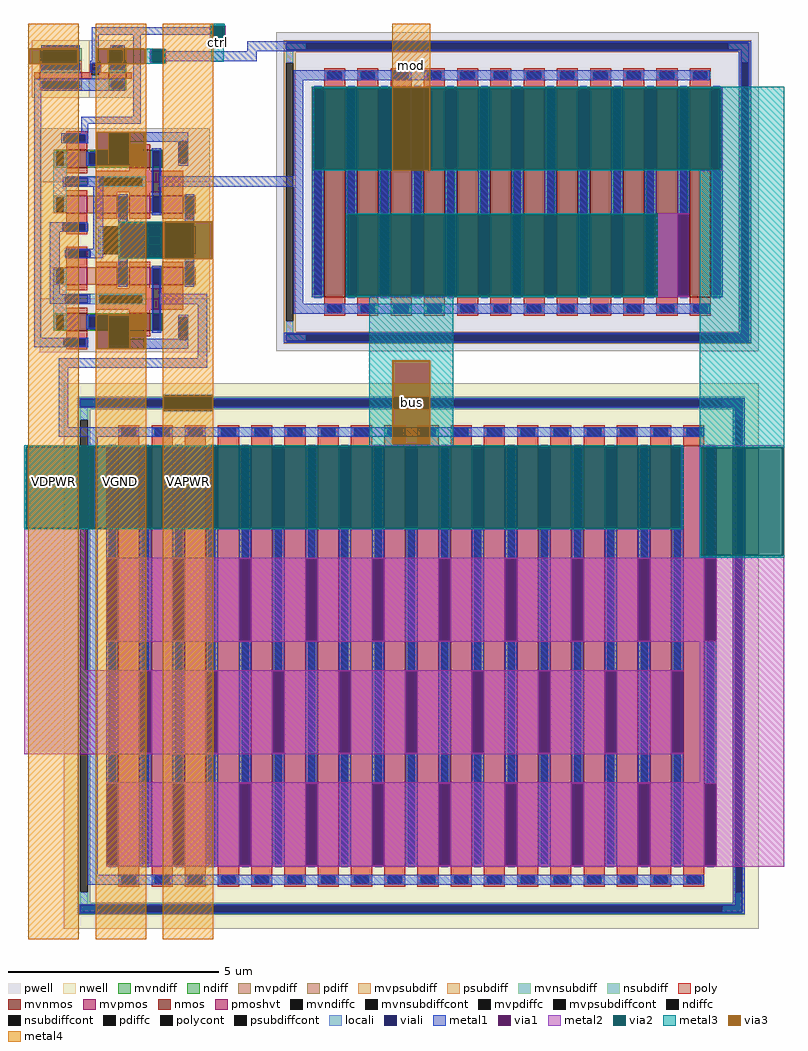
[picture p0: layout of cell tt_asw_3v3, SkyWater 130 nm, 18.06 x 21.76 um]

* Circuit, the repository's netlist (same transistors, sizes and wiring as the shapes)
** sch_path: /home/ttuser/Desktop/tt09-sar-adc-dac-combo/xschem/tt_asw_3v3.sch
.subckt tt_asw_3v3 VGND VDPWR VAPWR ctrl mod bus
*.PININFO mod:B bus:B ctrl:I VGND:B VDPWR:B VAPWR:B
XM1 tgon_n net2 VAPWR sky130_fd_pr__pfet_g5v0d10v5 L=0.5 W=0.84 nf=1 m=1
XM2 tgon_n net2 VGND sky130_fd_pr__nfet_g5v0d10v5 L=0.5 W=0.42 nf=1 m=1
XM3 tgon net1 VAPWR sky130_fd_pr__pfet_g5v0d10v5 L=0.5 W=0.84 nf=1 m=1
XM4 tgon net1 VGND sky130_fd_pr__nfet_g5v0d10v5 L=0.5 W=0.42 nf=1 m=1
XM5 bus tgon_n mod sky130_fd_pr__pfet_g5v0d10v5 L=0.5 W=180 nf=18 m=1
XM6 bus tgon mod sky130_fd_pr__nfet_g5v0d10v5 L=0.5 W=60 nf=12 m=1
XM7 ctrl_n ctrl VGND sky130_fd_pr__nfet_01v8 L=0.15 W=0.42 nf=1 m=1
XM8 ctrl_n ctrl VDPWR sky130_fd_pr__pfet_01v8_hvt L=0.15 W=1 nf=1 m=1
XM9 net1 ctrl VGND sky130_fd_pr__nfet_g5v0d10v5 L=0.5 W=0.42 nf=1 m=1
XM10 net2 ctrl_n VGND sky130_fd_pr__nfet_g5v0d10v5 L=0.5 W=0.42 nf=1 m=1
XM11 net1 net2 net3 sky130_fd_pr__pfet_g5v0d10v5 L=0.5 W=0.42 nf=1 m=1
XM12 net2 net1 net4 sky130_fd_pr__pfet_g5v0d10v5 L=0.5 W=0.42 nf=1 m=1
XM13 net3 net1 VAPWR sky130_fd_pr__pfet_g5v0d10v5 L=0.5 W=0.42 nf=1 m=1
XM14 net4 net2 VAPWR sky130_fd_pr__pfet_g5v0d10v5 L=0.5 W=0.42 nf=1 m=1
.ends
.end

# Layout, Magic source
magic
tech sky130A
magscale 1 2
<< viali >>
rect 1246 4228 3444 4262
rect 3410 2876 3444 4228
rect 1246 2842 3444 2876
rect 268 2532 3414 2566
rect 3380 162 3414 2532
rect 268 128 3414 162
<< metal1 >>
rect 888 4334 894 4340
rect 322 4300 894 4334
rect 82 4224 266 4230
rect 322 4208 356 4300
rect 402 4224 470 4230
rect 82 4164 266 4170
rect 402 4164 470 4170
rect 48 2860 82 4090
rect 520 3910 554 4300
rect 888 4288 894 4300
rect 946 4288 952 4340
rect 1060 4262 3456 4268
rect 1060 4228 1246 4262
rect 598 4170 604 4224
rect 672 4220 678 4224
rect 1060 4222 3410 4228
rect 1060 4220 1106 4222
rect 672 4174 1106 4220
rect 672 4170 678 4174
rect 272 3876 554 3910
rect 1282 4084 3260 4130
rect 272 3830 306 3876
rect 1282 3626 1328 4084
rect 652 3576 1328 3626
rect 652 3018 872 3068
rect 48 2814 176 2860
rect 826 2762 872 3018
rect 1282 3020 1328 3576
rect 1370 4046 1424 4052
rect 1370 3052 1424 3658
rect 1528 3446 1582 4052
rect 1528 3052 1582 3058
rect 1686 4046 1740 4052
rect 1686 3052 1740 3658
rect 1844 3446 1898 4052
rect 1844 3052 1898 3058
rect 2002 4046 2056 4052
rect 2002 3052 2056 3658
rect 2160 3446 2214 4052
rect 2160 3052 2214 3058
rect 2318 4046 2372 4052
rect 2318 3052 2372 3658
rect 2476 3446 2530 4052
rect 2476 3052 2530 3058
rect 2634 4046 2688 4052
rect 2634 3052 2688 3658
rect 2792 3446 2846 4052
rect 2792 3052 2846 3058
rect 2950 4046 3004 4052
rect 2950 3052 3004 3658
rect 3108 3446 3162 4052
rect 3108 3052 3162 3058
rect 3266 4046 3320 4052
rect 3266 3052 3320 3658
rect 1282 2974 3260 3020
rect 3398 2882 3410 4222
rect 1234 2876 3410 2882
rect 1234 2842 1246 2876
rect 3444 2842 3456 4262
rect 1234 2836 3456 2842
rect 164 2716 872 2762
rect 164 2434 210 2716
rect 662 2576 898 2582
rect 256 2566 662 2572
rect 898 2566 3426 2572
rect 256 2532 268 2566
rect 256 2526 662 2532
rect 898 2526 3380 2532
rect 662 2516 898 2522
rect 164 2388 3230 2434
rect 304 306 350 2388
rect 392 1808 446 2348
rect 392 740 446 1420
rect 392 346 446 352
rect 550 2342 604 2348
rect 550 1274 604 1954
rect 550 346 604 886
rect 708 1808 762 2348
rect 708 740 762 1420
rect 708 346 762 352
rect 866 2342 920 2348
rect 866 1274 920 1954
rect 866 346 920 886
rect 1024 1808 1078 2348
rect 1024 740 1078 1420
rect 1024 346 1078 352
rect 1182 2342 1236 2348
rect 1182 1274 1236 1954
rect 1182 346 1236 886
rect 1340 1808 1394 2348
rect 1340 740 1394 1420
rect 1340 346 1394 352
rect 1498 2342 1552 2348
rect 1498 1274 1552 1954
rect 1498 346 1552 886
rect 1656 1808 1710 2348
rect 1656 740 1710 1420
rect 1656 346 1710 352
rect 1814 2342 1868 2348
rect 1814 1274 1868 1954
rect 1814 346 1868 886
rect 1972 1808 2026 2348
rect 1972 740 2026 1420
rect 1972 346 2026 352
rect 2130 2342 2184 2348
rect 2130 1274 2184 1954
rect 2130 346 2184 886
rect 2288 1808 2342 2348
rect 2288 740 2342 1420
rect 2288 346 2342 352
rect 2446 2342 2500 2348
rect 2446 1274 2500 1954
rect 2446 346 2500 886
rect 2604 1808 2658 2348
rect 2604 740 2658 1420
rect 2604 346 2658 352
rect 2762 2342 2816 2348
rect 2762 1274 2816 1954
rect 2762 346 2816 886
rect 2920 1808 2974 2348
rect 2920 740 2974 1420
rect 2920 346 2974 352
rect 3078 2342 3132 2348
rect 3078 1274 3132 1954
rect 3078 346 3132 886
rect 3236 1808 3290 2348
rect 3236 740 3290 1420
rect 3236 346 3290 352
rect 304 260 3230 306
rect 3368 168 3380 2526
rect 256 162 3380 168
rect 256 128 268 162
rect 3414 128 3426 2566
rect 256 122 3426 128
<< via1 >>
rect 82 4170 266 4224
rect 402 4170 470 4224
rect 894 4288 946 4340
rect 604 4170 672 4224
rect 406 3676 498 3836
rect 448 3240 810 3404
rect 406 2808 498 2968
rect 1370 3658 1424 4046
rect 1528 3058 1582 3446
rect 1686 3658 1740 4046
rect 1844 3058 1898 3446
rect 2002 3658 2056 4046
rect 2160 3058 2214 3446
rect 2318 3658 2372 4046
rect 2476 3058 2530 3446
rect 2634 3658 2688 4046
rect 2792 3058 2846 3446
rect 2950 3658 3004 4046
rect 3108 3058 3162 3446
rect 3266 3658 3320 4046
rect 662 2566 898 2576
rect 662 2532 898 2566
rect 662 2522 898 2532
rect 392 1420 446 1808
rect 392 352 446 740
rect 550 1954 604 2342
rect 550 886 604 1274
rect 708 1420 762 1808
rect 708 352 762 740
rect 866 1954 920 2342
rect 866 886 920 1274
rect 1024 1420 1078 1808
rect 1024 352 1078 740
rect 1182 1954 1236 2342
rect 1182 886 1236 1274
rect 1340 1420 1394 1808
rect 1340 352 1394 740
rect 1498 1954 1552 2342
rect 1498 886 1552 1274
rect 1656 1420 1710 1808
rect 1656 352 1710 740
rect 1814 1954 1868 2342
rect 1814 886 1868 1274
rect 1972 1420 2026 1808
rect 1972 352 2026 740
rect 2130 1954 2184 2342
rect 2130 886 2184 1274
rect 2288 1420 2342 1808
rect 2288 352 2342 740
rect 2446 1954 2500 2342
rect 2446 886 2500 1274
rect 2604 1420 2658 1808
rect 2604 352 2658 740
rect 2762 1954 2816 2342
rect 2762 886 2816 1274
rect 2920 1420 2974 1808
rect 2920 352 2974 740
rect 3078 1954 3132 2342
rect 3078 886 3132 1274
rect 3236 1420 3290 1808
rect 3236 352 3290 740
<< metal2 >>
rect 882 4286 892 4342
rect 948 4286 958 4342
rect 82 4226 266 4230
rect 82 4224 92 4226
rect 256 4224 266 4226
rect 82 4168 92 4170
rect 256 4168 266 4170
rect 82 4164 266 4168
rect 398 4226 474 4230
rect 398 4224 408 4226
rect 464 4224 474 4226
rect 398 4170 402 4224
rect 470 4170 474 4224
rect 398 4168 408 4170
rect 464 4168 474 4170
rect 398 4164 474 4168
rect 600 4226 676 4230
rect 600 4224 610 4226
rect 666 4224 676 4226
rect 600 4170 604 4224
rect 672 4170 676 4224
rect 600 4168 610 4170
rect 666 4168 676 4170
rect 600 4164 676 4168
rect 1370 4046 3320 4052
rect 400 3676 406 3836
rect 498 3676 504 3836
rect 1370 3652 3320 3658
rect 1528 3446 3162 3452
rect 448 3404 810 3410
rect 448 3234 810 3240
rect 3002 3058 3108 3446
rect 1528 3052 3162 3058
rect 400 2808 406 2968
rect 498 2808 504 2968
rect 662 2580 898 2582
rect 662 2576 672 2580
rect 888 2576 898 2580
rect 662 2518 672 2522
rect 888 2518 898 2522
rect 662 2516 898 2518
rect 0 2342 3132 2348
rect 0 1954 10 2342
rect 0 1948 3132 1954
rect 3212 2338 3612 2348
rect 0 1280 292 1948
rect 3212 1824 3218 2338
rect 3606 1824 3612 2338
rect 3212 1814 3612 1824
rect 392 1808 3612 1814
rect 446 1420 708 1808
rect 762 1420 1024 1808
rect 1078 1420 1340 1808
rect 1394 1420 1656 1808
rect 1710 1420 1972 1808
rect 2026 1420 2288 1808
rect 2342 1420 2604 1808
rect 2658 1420 2920 1808
rect 2974 1420 3236 1808
rect 3290 1420 3612 1808
rect 392 1414 3612 1420
rect 0 1274 3132 1280
rect 0 886 550 1274
rect 604 886 866 1274
rect 920 886 1182 1274
rect 1236 886 1498 1274
rect 1552 886 1814 1274
rect 1868 886 2130 1274
rect 2184 886 2446 1274
rect 2500 886 2762 1274
rect 2816 886 3078 1274
rect 0 880 3132 886
rect 3212 746 3612 1414
rect 392 740 3612 746
rect 446 352 708 740
rect 762 352 1024 740
rect 1078 352 1340 740
rect 1394 352 1656 740
rect 1710 352 1972 740
rect 2026 352 2288 740
rect 2342 352 2604 740
rect 2658 352 2920 740
rect 2974 352 3236 740
rect 3290 352 3612 740
rect 392 346 3612 352
<< via2 >>
rect 892 4340 948 4342
rect 892 4288 894 4340
rect 894 4288 946 4340
rect 946 4288 948 4340
rect 892 4286 948 4288
rect 92 4224 256 4226
rect 92 4170 256 4224
rect 92 4168 256 4170
rect 408 4224 464 4226
rect 408 4170 464 4224
rect 408 4168 464 4170
rect 610 4224 666 4226
rect 610 4170 666 4224
rect 610 4168 666 4170
rect 406 3686 498 3826
rect 1380 3658 1424 4046
rect 1424 3658 1686 4046
rect 1686 3658 1740 4046
rect 1740 3658 2002 4046
rect 2002 3658 2056 4046
rect 2056 3658 2318 4046
rect 2318 3658 2372 4046
rect 2372 3658 2634 4046
rect 2634 3658 2688 4046
rect 2688 3658 2950 4046
rect 2950 3658 3004 4046
rect 3004 3658 3266 4046
rect 3266 3658 3310 4046
rect 458 3240 800 3404
rect 1538 3058 1582 3446
rect 1582 3058 1844 3446
rect 1844 3058 1898 3446
rect 1898 3058 2160 3446
rect 2160 3058 2214 3446
rect 2214 3058 2476 3446
rect 2476 3058 2530 3446
rect 2530 3058 2792 3446
rect 2792 3058 2846 3446
rect 2846 3058 3002 3446
rect 406 2818 498 2958
rect 672 2576 888 2580
rect 672 2522 888 2576
rect 672 2518 888 2522
rect 10 1954 550 2342
rect 550 1954 604 2342
rect 604 1954 866 2342
rect 866 1954 920 2342
rect 920 1954 1182 2342
rect 1182 1954 1236 2342
rect 1236 1954 1498 2342
rect 1498 1954 1552 2342
rect 1552 1954 1814 2342
rect 1814 1954 1868 2342
rect 1868 1954 2130 2342
rect 2130 1954 2184 2342
rect 2184 1954 2446 2342
rect 2446 1954 2500 2342
rect 2500 1954 2762 2342
rect 2762 1954 2816 2342
rect 2816 1954 3078 2342
rect 3078 1954 3122 2342
rect 3218 1824 3606 2338
<< metal3 >>
rect 886 4342 954 4352
rect 886 4286 892 4342
rect 948 4286 954 4342
rect 886 4276 954 4286
rect 20 4162 26 4232
rect 254 4226 262 4232
rect 256 4168 262 4226
rect 254 4162 262 4168
rect 340 4162 346 4232
rect 574 4226 672 4232
rect 574 4168 610 4226
rect 666 4168 672 4226
rect 890 4172 950 4276
rect 574 4162 672 4168
rect 1370 4050 3612 4052
rect 1370 4046 1752 4050
rect 1928 4046 3612 4050
rect 340 3676 346 3836
rect 574 3676 580 3836
rect 1370 3658 1380 4046
rect 3310 3658 3612 4046
rect 1370 3654 1752 3658
rect 1928 3654 3612 3658
rect 1370 3652 3612 3654
rect 1528 3446 3012 3452
rect 448 3404 666 3410
rect 448 3240 458 3404
rect 448 3234 666 3240
rect 894 3234 900 3410
rect 1528 3058 1538 3446
rect 3002 3058 3012 3446
rect 1528 3052 3012 3058
rect 340 2808 346 2968
rect 574 2808 580 2968
rect 1640 2750 2040 3052
rect 662 2582 898 2588
rect 662 2510 898 2516
rect 1640 2354 1752 2750
rect 1928 2354 2040 2750
rect 1640 2348 2040 2354
rect 0 2342 3132 2348
rect 0 1954 10 2342
rect 3122 1954 3132 2342
rect 0 1948 3132 1954
rect 3212 2338 3612 3652
rect 3212 1824 3218 2338
rect 3606 1824 3612 2338
rect 3212 1814 3612 1824
<< via3 >>
rect 26 4226 254 4232
rect 26 4168 92 4226
rect 92 4168 254 4226
rect 26 4162 254 4168
rect 346 4226 574 4232
rect 346 4168 408 4226
rect 408 4168 464 4226
rect 464 4168 574 4226
rect 346 4162 574 4168
rect 1752 4046 1928 4050
rect 346 3826 574 3836
rect 346 3686 406 3826
rect 406 3686 498 3826
rect 498 3686 574 3826
rect 346 3676 574 3686
rect 1752 3658 1928 4046
rect 1752 3654 1928 3658
rect 666 3404 894 3410
rect 666 3240 800 3404
rect 800 3240 894 3404
rect 666 3234 894 3240
rect 346 2958 574 2968
rect 346 2818 406 2958
rect 406 2818 498 2958
rect 498 2818 574 2958
rect 346 2808 574 2818
rect 662 2580 898 2582
rect 662 2518 672 2580
rect 672 2518 888 2580
rect 888 2518 898 2580
rect 662 2516 898 2518
rect 1752 2354 1928 2750
<< metal4 >>
rect 20 4232 260 4352
rect 20 4162 26 4232
rect 254 4162 260 4232
rect 20 0 260 4162
rect 340 4232 580 4352
rect 340 4162 346 4232
rect 574 4162 580 4232
rect 340 3836 580 4162
rect 340 3676 346 3836
rect 574 3676 580 3836
rect 340 2968 580 3676
rect 340 2808 346 2968
rect 574 2808 580 2968
rect 340 0 580 2808
rect 660 3410 900 4352
rect 1750 4050 1930 4352
rect 1750 3654 1752 4050
rect 1928 3654 1930 4050
rect 1750 3652 1930 3654
rect 660 3234 666 3410
rect 894 3234 900 3410
rect 660 2582 900 3234
rect 660 2516 662 2582
rect 898 2516 900 2582
rect 660 0 900 2516
rect 1750 2750 1930 2752
rect 1750 2354 1752 2750
rect 1928 2354 1930 2750
rect 1750 2352 1930 2354
use sky130_fd_pr__nfet_g5v0d10v5_SFRJCA  sky130_fd_pr__nfet_g5v0d10v5_SFRJCA_0
transform 1 0 2345 0 1 3552
box -1147 -758 1147 758
use sky130_fd_pr__pfet_g5v0d10v5_CYUY46  sky130_fd_pr__pfet_g5v0d10v5_CYUY46_0
transform 1 0 1841 0 1 1347
box -1651 -1297 1651 1297
use tt_lvl_shift  tt_lvl_shift_0
transform -1 0 880 0 -1 3322
box -2 -532 804 532
use tt_small_inv  tt_small_inv_0
transform 0 1 -4806 -1 0 4940
box 668 4844 940 5328
<< labels >>
rlabel metal4 20 0 260 4352 1 VDPWR
port 2 n power input
rlabel metal3 890 4172 950 4352 1 ctrl
port 4 n signal input
rlabel metal4 1750 3952 1930 4352 1 mod
port 5 n analog bidirectional
rlabel metal4 1750 2352 1930 2752 1 bus
port 6 n analog bidirectional
rlabel metal4 660 0 900 4352 1 VAPWR
port 3 n power input
rlabel metal4 340 0 580 4352 1 VGND
port 1 n ground input
<< properties >>
string FIXED_BBOX 0 0 3680 4352
<< end >>

# cell sky130_fd_pr__nfet_g5v0d10v5_SFRJCA: kit device sky130_fd_pr__nfet_g5v0d10v5, w 5 l 0.5 m 1 nf 12 diffcov 100 polycov 100 guard 1 glc 1 grc 1 gtc 1 gbc 1 tbcov 100 rlcov 100 topc 1 botc 1 poverlap 0 doverlap 1 lmin 0.50 wmin 0.42 compatible {sky130_fd_pr__nfet_01v8 sky130_fd_pr__nfet_01v8_lvt sky130_fd_bs_flash__special_sonosfet_star sky130_fd_pr__nfet_g5v0d10v5 sky130_fd_pr__nfet_05v0_nvt sky130_fd_pr__nfet_03v3_nvt} full_metal 1 viasrc 100 viadrn 100 viagate 100 viagb 0 viagr 0 viagl 0 viagt 0

# cell sky130_fd_pr__pfet_g5v0d10v5_CYUY46: kit device sky130_fd_pr__pfet_g5v0d10v5, w 10 l 0.5 m 1 nf 18 diffcov 100 polycov 100 guard 1 glc 1 grc 1 gtc 1 gbc 1 tbcov 100 rlcov 100 topc 1 botc 1 poverlap 0 doverlap 1 lmin 0.50 wmin 0.42 compatible {sky130_fd_pr__pfet_01v8 sky130_fd_pr__pfet_01v8_lvt sky130_fd_pr__pfet_01v8_hvt sky130_fd_pr__pfet_g5v0d10v5} full_metal 1 viasrc 100 viadrn 100 viagate 100 viagb 0 viagr 0 viagl 0 viagt 0

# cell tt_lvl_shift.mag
magic
tech sky130A
<< nwell >>
rect -1 -139 402 139
<< pwell >>
rect -1 139 402 266
rect -1 -266 402 -139
<< mvnmos >>
rect 140 173 190 215
rect 290 173 340 215
rect 140 -215 190 -173
rect 290 -215 340 -173
<< mvpmos >>
rect 61 64 111 106
rect 140 64 190 106
rect 219 64 269 106
rect 290 64 340 106
rect 61 -106 111 -64
rect 140 -106 190 -64
rect 219 -106 269 -64
rect 290 -106 340 -64
<< mvndiff >>
rect 111 211 140 215
rect 111 177 117 211
rect 134 177 140 211
rect 111 173 140 177
rect 190 211 290 215
rect 190 177 196 211
rect 284 177 290 211
rect 190 173 290 177
rect 340 211 369 215
rect 340 177 346 211
rect 363 177 369 211
rect 340 173 369 177
rect 111 -177 140 -173
rect 111 -211 117 -177
rect 134 -211 140 -177
rect 111 -215 140 -211
rect 190 -177 290 -173
rect 190 -211 196 -177
rect 284 -211 290 -177
rect 190 -215 290 -211
rect 340 -177 369 -173
rect 340 -211 346 -177
rect 363 -211 369 -177
rect 340 -215 369 -211
<< mvpdiff >>
rect 32 102 61 106
rect 32 68 38 102
rect 55 68 61 102
rect 32 64 61 68
rect 111 102 140 106
rect 111 68 117 102
rect 134 68 140 102
rect 111 64 140 68
rect 190 102 219 106
rect 190 68 196 102
rect 213 68 219 102
rect 190 64 219 68
rect 269 64 290 106
rect 340 102 369 106
rect 340 68 346 102
rect 363 68 369 102
rect 340 64 369 68
rect 32 -68 61 -64
rect 32 -102 38 -68
rect 55 -102 61 -68
rect 32 -106 61 -102
rect 111 -68 140 -64
rect 111 -102 117 -68
rect 134 -102 140 -68
rect 111 -106 140 -102
rect 190 -68 219 -64
rect 190 -102 196 -68
rect 213 -102 219 -68
rect 190 -106 219 -102
rect 269 -106 290 -64
rect 340 -68 369 -64
rect 340 -102 346 -68
rect 363 -102 369 -68
rect 340 -106 369 -102
<< mvndiffc >>
rect 117 177 134 211
rect 196 177 284 211
rect 346 177 363 211
rect 117 -211 134 -177
rect 196 -211 284 -177
rect 346 -211 363 -177
<< mvpdiffc >>
rect 38 68 55 102
rect 117 68 134 102
rect 196 68 213 102
rect 346 68 363 102
rect 38 -102 55 -68
rect 117 -102 134 -68
rect 196 -102 213 -68
rect 346 -102 363 -68
<< mvpsubdiff >>
rect 52 214 71 226
rect 52 197 53 214
rect 70 197 71 214
rect 52 185 71 197
rect 52 -197 71 -185
rect 52 -214 53 -197
rect 70 -214 71 -197
rect 52 -226 71 -214
<< mvnsubdiff >>
rect 32 -33 44 33
rect 252 -33 264 33
<< mvpsubdiffcont >>
rect 53 197 70 214
rect 53 -214 70 -197
<< mvnsubdiffcont >>
rect 44 -33 252 33
<< poly >>
rect 290 251 340 259
rect 290 234 295 251
rect 335 234 340 251
rect 140 215 190 228
rect 290 215 340 234
rect 140 165 190 173
rect 61 149 269 165
rect 290 160 340 173
rect 61 130 159 149
rect 261 130 269 149
rect 61 114 269 130
rect 61 106 111 114
rect 140 106 190 114
rect 219 106 269 114
rect 290 106 340 119
rect 61 51 111 64
rect 140 51 190 64
rect 219 51 269 64
rect 290 40 340 64
rect 290 23 295 40
rect 335 23 340 40
rect 290 15 340 23
rect 290 -23 340 -15
rect 290 -40 295 -23
rect 335 -40 340 -23
rect 61 -64 111 -51
rect 140 -64 190 -51
rect 219 -64 269 -51
rect 290 -64 340 -40
rect 61 -114 111 -106
rect 140 -114 190 -106
rect 219 -114 269 -106
rect 61 -130 269 -114
rect 290 -119 340 -106
rect 61 -149 159 -130
rect 261 -149 269 -130
rect 61 -165 269 -149
rect 140 -173 190 -165
rect 290 -173 340 -160
rect 140 -228 190 -215
rect 290 -234 340 -215
rect 290 -251 295 -234
rect 335 -251 340 -234
rect 290 -259 340 -251
<< polycont >>
rect 295 234 335 251
rect 159 130 261 149
rect 295 23 335 40
rect 295 -40 335 -23
rect 159 -149 261 -130
rect 295 -251 335 -234
<< locali >>
rect 287 234 293 251
rect 117 213 134 219
rect 188 208 196 211
rect 284 208 292 211
rect 188 180 194 208
rect 286 180 292 208
rect 188 177 196 180
rect 284 177 292 180
rect 338 177 346 211
rect 363 177 371 211
rect 38 104 55 110
rect 338 152 371 177
rect 151 149 371 152
rect 151 130 159 149
rect 261 148 371 149
rect 261 131 288 148
rect 342 131 371 148
rect 261 130 371 131
rect 151 127 371 130
rect 117 60 134 66
rect 196 104 213 110
rect 338 102 371 127
rect 338 68 346 102
rect 363 68 371 102
rect 38 33 55 51
rect 196 33 213 51
rect 36 10 44 33
rect 36 -10 41 10
rect 36 -33 44 -10
rect 252 -33 260 33
rect 335 23 343 40
rect 38 -51 55 -33
rect 196 -51 213 -33
rect 287 -40 295 -23
rect 38 -110 55 -104
rect 117 -66 134 -60
rect 196 -110 213 -104
rect 338 -102 346 -68
rect 363 -102 371 -68
rect 338 -127 371 -102
rect 151 -130 371 -127
rect 151 -149 159 -130
rect 261 -131 371 -130
rect 261 -148 288 -131
rect 342 -148 371 -131
rect 261 -149 371 -148
rect 151 -152 371 -149
rect 338 -177 371 -152
rect 188 -180 196 -177
rect 284 -180 292 -177
rect 188 -208 194 -180
rect 286 -208 292 -180
rect 188 -211 196 -208
rect 284 -211 292 -208
rect 338 -211 346 -177
rect 363 -211 371 -177
rect 117 -219 134 -213
rect 287 -251 293 -234
<< viali >>
rect 53 214 70 236
rect 293 234 295 251
rect 295 234 335 251
rect 335 234 346 251
rect 53 197 70 214
rect 53 183 70 197
rect 117 211 134 213
rect 117 177 134 211
rect 194 180 196 208
rect 196 180 284 208
rect 284 180 286 208
rect 38 102 55 104
rect 38 68 55 102
rect 38 51 55 68
rect 117 102 134 177
rect 288 131 342 148
rect 117 68 134 102
rect 117 66 134 68
rect 196 102 213 104
rect 196 68 213 102
rect 196 51 213 68
rect 41 -10 44 10
rect 44 -10 210 10
rect 282 23 295 40
rect 295 23 335 40
rect 38 -68 55 -51
rect 295 -40 335 -23
rect 335 -40 348 -23
rect 38 -102 55 -68
rect 38 -104 55 -102
rect 117 -68 134 -66
rect 117 -102 134 -68
rect 117 -177 134 -102
rect 196 -68 213 -51
rect 196 -102 213 -68
rect 196 -104 213 -102
rect 288 -148 342 -131
rect 53 -197 70 -183
rect 53 -214 70 -197
rect 53 -236 70 -214
rect 117 -211 134 -177
rect 194 -208 196 -180
rect 196 -208 284 -180
rect 284 -208 286 -180
rect 117 -213 134 -211
rect 293 -251 295 -234
rect 295 -251 335 -234
rect 335 -251 346 -234
<< metal1 >>
rect 50 236 240 257
rect 50 183 53 236
rect 70 234 240 236
rect 70 183 73 234
rect 50 177 73 183
rect 114 213 137 219
rect 35 104 58 110
rect 35 51 38 104
rect 55 51 58 104
rect 114 66 117 213
rect 134 66 137 213
rect 188 211 240 234
rect 287 251 352 254
rect 287 234 293 251
rect 346 234 352 251
rect 287 231 352 234
rect 188 208 292 211
rect 188 180 194 208
rect 286 180 292 208
rect 188 177 292 180
rect 282 148 379 151
rect 282 131 288 148
rect 342 131 379 148
rect 282 128 379 131
rect 114 60 137 66
rect 193 104 216 110
rect 35 44 58 51
rect 193 51 196 104
rect 213 51 216 104
rect 193 44 216 51
rect 35 10 216 44
rect 35 -10 41 10
rect 210 -10 216 10
rect 35 -44 216 -10
rect 35 -51 58 -44
rect 35 -104 38 -51
rect 55 -104 58 -51
rect 193 -51 216 -44
rect 35 -110 58 -104
rect 114 -66 137 -60
rect 50 -183 73 -177
rect 50 -236 53 -183
rect 70 -234 73 -183
rect 114 -213 117 -66
rect 134 -213 137 -66
rect 193 -104 196 -51
rect 213 -104 216 -51
rect 193 -110 216 -104
rect 252 40 341 43
rect 252 23 282 40
rect 335 23 341 40
rect 252 20 341 23
rect 252 -128 275 20
rect 355 -20 379 128
rect 289 -23 379 -20
rect 289 -40 295 -23
rect 348 -40 379 -23
rect 289 -43 379 -40
rect 252 -131 348 -128
rect 252 -148 288 -131
rect 342 -148 348 -131
rect 252 -151 348 -148
rect 114 -219 137 -213
rect 188 -180 292 -177
rect 188 -208 194 -180
rect 286 -208 292 -180
rect 188 -211 292 -208
rect 188 -234 240 -211
rect 70 -236 240 -234
rect 50 -257 240 -236
rect 287 -234 352 -231
rect 287 -251 293 -234
rect 346 -251 352 -234
rect 287 -254 352 -251
<< end >>

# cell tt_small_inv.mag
magic
tech sky130A
<< nwell >>
rect 334 2422 470 2558
<< pwell >>
rect 334 2558 470 2664
<< nmos >>
rect 410 2604 425 2646
<< pmoshvt >>
rect 410 2440 425 2540
<< ndiff >>
rect 380 2642 410 2646
rect 380 2608 387 2642
rect 404 2608 410 2642
rect 380 2604 410 2608
rect 425 2634 452 2646
rect 425 2616 431 2634
rect 448 2616 452 2634
rect 425 2604 452 2616
<< pdiff >>
rect 381 2536 410 2540
rect 381 2444 387 2536
rect 404 2444 410 2536
rect 381 2440 410 2444
rect 425 2528 452 2540
rect 425 2452 431 2528
rect 448 2452 452 2528
rect 425 2440 452 2452
<< ndiffc >>
rect 387 2608 404 2642
rect 431 2616 448 2634
<< pdiffc >>
rect 387 2444 404 2536
rect 431 2452 448 2528
<< psubdiff >>
rect 351 2634 380 2646
rect 351 2616 353 2634
rect 370 2616 380 2634
rect 351 2604 380 2616
<< nsubdiff >>
rect 352 2528 381 2540
rect 352 2452 353 2528
rect 370 2452 381 2528
rect 352 2440 381 2452
<< psubdiffcont >>
rect 353 2616 370 2634
<< nsubdiffcont >>
rect 353 2452 370 2528
<< poly >>
rect 410 2646 425 2659
rect 410 2586 425 2604
rect 392 2581 425 2586
rect 392 2564 400 2581
rect 417 2564 425 2581
rect 392 2559 425 2564
rect 410 2540 425 2559
rect 410 2427 425 2440
<< polycont >>
rect 400 2564 417 2581
<< locali >>
rect 345 2636 387 2642
rect 345 2614 348 2636
rect 345 2608 387 2614
rect 404 2608 412 2642
rect 431 2639 448 2642
rect 431 2608 448 2611
rect 417 2564 425 2581
rect 345 2530 387 2536
rect 345 2450 348 2530
rect 345 2444 387 2450
rect 404 2444 412 2536
rect 431 2533 448 2536
rect 431 2444 448 2447
<< viali >>
rect 348 2634 387 2636
rect 348 2616 353 2634
rect 353 2616 370 2634
rect 370 2616 387 2634
rect 348 2614 387 2616
rect 387 2614 402 2636
rect 431 2634 448 2639
rect 431 2616 448 2634
rect 431 2611 448 2616
rect 388 2564 400 2581
rect 400 2564 405 2581
rect 348 2528 387 2530
rect 348 2452 353 2528
rect 353 2452 370 2528
rect 370 2452 387 2528
rect 348 2450 387 2452
rect 387 2450 402 2530
rect 431 2528 448 2533
rect 431 2452 448 2528
rect 431 2447 448 2452
<< metal1 >>
rect 345 2636 405 2642
rect 345 2614 348 2636
rect 402 2614 405 2636
rect 345 2608 405 2614
rect 425 2639 454 2642
rect 425 2611 431 2639
rect 448 2611 454 2639
rect 382 2581 411 2584
rect 366 2564 388 2581
rect 405 2564 411 2581
rect 382 2561 411 2564
rect 345 2530 405 2536
rect 345 2450 348 2530
rect 402 2450 405 2530
rect 345 2444 405 2450
rect 425 2533 454 2611
rect 425 2447 431 2533
rect 448 2447 454 2533
rect 425 2444 454 2447
<< end >>
